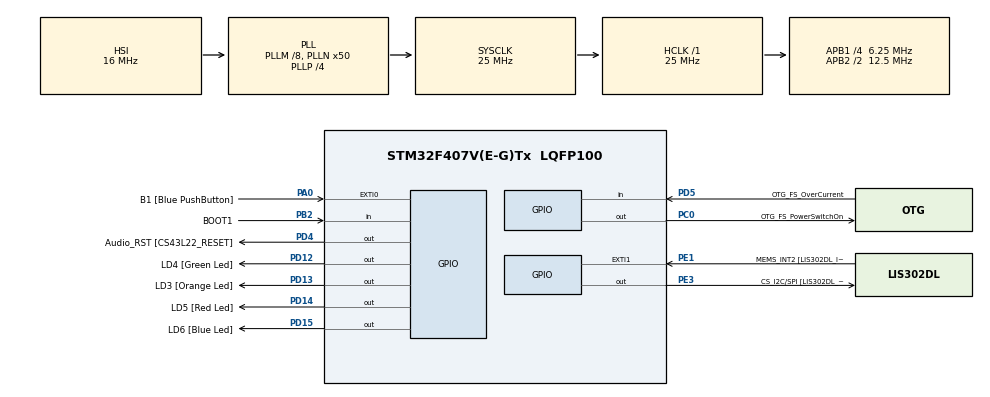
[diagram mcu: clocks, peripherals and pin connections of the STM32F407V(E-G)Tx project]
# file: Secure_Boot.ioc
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Mcu.Family=STM32F4
Mcu.Name=STM32F407V(E-G)Tx
Mcu.Package=LQFP100
NVIC.PriorityGroup=NVIC_PRIORITYGROUP_0
PA0-WKUP.GPIO_Label=B1 [Blue PushButton]
PA0-WKUP.Signal=GPXTI0
PA10.GPIO_Label=OTG_FS_ID
PA10.GPIO_Mode=GPIO_MODE_AF_PP
PA10.GPIO_PuPd=GPIO_NOPULL
PA10.GPIO_Speed=GPIO_SPEED_FREQ_LOW
PA10.Signal=USB_OTG_FS_ID
PA11.GPIO_Label=OTG_FS_DM
PA11.GPIO_Mode=GPIO_MODE_AF_PP
PA11.GPIO_PuPd=GPIO_NOPULL
PA11.GPIO_Speed=GPIO_SPEED_FREQ_LOW
PA11.Signal=USB_OTG_FS_DM
PA12.GPIO_Label=OTG_FS_DP
PA12.GPIO_Mode=GPIO_MODE_AF_PP
PA12.GPIO_PuPd=GPIO_NOPULL
PA12.GPIO_Speed=GPIO_SPEED_FREQ_LOW
PA12.Signal=USB_OTG_FS_DP
PA13.GPIO_Label=SWDIO
PA13.Signal=SYS_JTMS-SWDIO
PA14.GPIO_Label=SWCLK
PA14.Signal=SYS_JTCK-SWCLK
PA4.GPIO_Label=I2S3_WS [CS43L22_LRCK]
PA4.GPIO_Mode=GPIO_MODE_AF_PP
PA4.GPIO_PuPd=GPIO_NOPULL
PA4.GPIO_Speed=GPIO_SPEED_FREQ_LOW
PA4.Signal=I2S3_WS
PA5.GPIO_Label=SPI1_SCK [LIS302DL_SCL/SPC]
PA5.GPIO_Mode=GPIO_MODE_AF_PP
PA5.GPIO_PuPd=GPIO_NOPULL
PA5.GPIO_Speed=GPIO_SPEED_FREQ_LOW
PA5.Signal=SPI1_SCK
PA6.GPIO_Label=SPI1_MISO [LIS302DL_SDO]
PA6.GPIO_Mode=GPIO_MODE_AF_PP
PA6.GPIO_PuPd=GPIO_NOPULL
PA6.GPIO_Speed=GPIO_SPEED_FREQ_LOW
PA6.Signal=SPI1_MISO
PA7.GPIO_Label=SPI1_MOSI [LIS302DL_SDA/SDI/SDO]
PA7.GPIO_Mode=GPIO_MODE_AF_PP
PA7.GPIO_PuPd=GPIO_NOPULL
PA7.GPIO_Speed=GPIO_SPEED_FREQ_LOW
PA7.Signal=SPI1_MOSI
PA9.GPIO_Label=VBUS_FS
PA9.GPIO_Mode=GPIO_MODE_INPUT
PA9.GPIO_PuPd=GPIO_NOPULL
PA9.Signal=USB_OTG_FS_VBUS
PB10.GPIO_Label=CLK_IN [MP45DT02_CLK]
PB10.GPIO_Mode=GPIO_MODE_AF_PP
PB10.GPIO_PuPd=GPIO_NOPULL
PB10.GPIO_Speed=GPIO_SPEED_FREQ_LOW
PB10.Signal=I2S2_CK
PB2.GPIO_Label=BOOT1
PB2.GPIO_Mode=GPIO_MODE_INPUT
PB2.GPIO_PuPd=GPIO_NOPULL
PB2.Signal=GPIO_Input
PB3.GPIO_Label=SWO
PB3.Signal=SYS_JTDO-SWO
PB6.GPIO_Label=Audio_SCL [CS43L22_SCL]
PB6.GPIO_Mode=GPIO_MODE_AF_OD
PB6.GPIO_PuPd=GPIO_NOPULL
PB6.GPIO_Speed=GPIO_SPEED_FREQ_LOW
PB6.Signal=I2C1_SCL
PB9.GPIO_Label=Audio_SDA [CS43L22_SDA]
PB9.GPIO_Mode=GPIO_MODE_AF_OD
PB9.GPIO_PuPd=GPIO_NOPULL
PB9.GPIO_Speed=GPIO_SPEED_FREQ_LOW
PB9.Signal=I2C1_SDA
PC0.GPIO_Label=OTG_FS_PowerSwitchOn
PC0.GPIO_PuPd=GPIO_NOPULL
PC0.GPIO_Speed=GPIO_SPEED_FREQ_LOW
PC0.PinState=GPIO_PIN_SET
PC0.Signal=GPIO_Output
PC10.GPIO_Label=I2S3_SCK [CS43L22_SCLK]
PC10.GPIO_Mode=GPIO_MODE_AF_PP
PC10.GPIO_PuPd=GPIO_NOPULL
PC10.GPIO_Speed=GPIO_SPEED_FREQ_LOW
PC10.Signal=I2S3_CK
PC12.GPIO_Label=I2S3_SD [CS43L22_SDIN]
PC12.GPIO_Mode=GPIO_MODE_AF_PP
PC12.GPIO_PuPd=GPIO_NOPULL
PC12.GPIO_Speed=GPIO_SPEED_FREQ_LOW
PC12.Signal=I2S3_SD
PC14-OSC32_IN.GPIO_Label=PC14-OSC32_IN
PC14-OSC32_IN.Signal=RCC_OSC32_IN
PC15-OSC32_OUT.GPIO_Label=PC15-OSC32_OUT
PC15-OSC32_OUT.Signal=RCC_OSC32_OUT
PC3.GPIO_Label=PDM_OUT [MP45DT02_DOUT]
PC3.GPIO_Mode=GPIO_MODE_AF_PP
PC3.GPIO_PuPd=GPIO_NOPULL
PC3.GPIO_Speed=GPIO_SPEED_FREQ_LOW
PC3.Signal=I2S2_SD
PC7.GPIO_Label=I2S3_MCK [CS43L22_MCLK]
PC7.GPIO_Mode=GPIO_MODE_AF_PP
PC7.GPIO_PuPd=GPIO_NOPULL
PC7.GPIO_Speed=GPIO_SPEED_FREQ_LOW
PC7.Signal=I2S3_MCK
PD12.GPIO_Label=LD4 [Green Led]
PD12.GPIO_PuPd=GPIO_NOPULL
PD12.GPIO_Speed=GPIO_SPEED_FREQ_LOW
PD12.Signal=GPIO_Output
PD13.GPIO_Label=LD3 [Orange Led]
PD13.GPIO_PuPd=GPIO_NOPULL
PD13.GPIO_Speed=GPIO_SPEED_FREQ_LOW
PD13.Signal=GPIO_Output
PD14.GPIO_Label=LD5 [Red Led]
PD14.GPIO_PuPd=GPIO_NOPULL
PD14.GPIO_Speed=GPIO_SPEED_FREQ_LOW
PD14.Signal=GPIO_Output
PD15.GPIO_Label=LD6 [Blue Led]
PD15.GPIO_PuPd=GPIO_NOPULL
PD15.GPIO_Speed=GPIO_SPEED_FREQ_LOW
PD15.Signal=GPIO_Output
PD4.GPIO_Label=Audio_RST [CS43L22_RESET]
PD4.GPIO_PuPd=GPIO_NOPULL
PD4.GPIO_Speed=GPIO_SPEED_FREQ_LOW
PD4.Signal=GPIO_Output
PD5.GPIO_Label=OTG_FS_OverCurrent
PD5.GPIO_Mode=GPIO_MODE_INPUT
PD5.GPIO_PuPd=GPIO_NOPULL
PD5.Signal=GPIO_Input
PE1.GPIO_Label=MEMS_INT2 [LIS302DL_INT2]
PE1.GPIO_ModeDefaultEXTI=GPIO_MODE_EVT_RISING
PE1.GPIO_PuPd=GPIO_NOPULL
PE1.Signal=GPXTI1
PE3.GPIO_Label=CS_I2C/SPI [LIS302DL_CS_I2C/SPI]
PE3.GPIO_PuPd=GPIO_NOPULL
PE3.GPIO_Speed=GPIO_SPEED_FREQ_LOW
PE3.Signal=GPIO_Output
PH0-OSC_IN.GPIO_Label=PH0-OSC_IN
PH0-OSC_IN.Signal=RCC_OSC_IN
PH1-OSC_OUT.GPIO_Label=PH1-OSC_OUT
PH1-OSC_OUT.Signal=RCC_OSC_OUT
ProjectManager.HeapSize=0x200
ProjectManager.StackSize=0x400
ProjectManager.TargetToolchain=STM32CubeIDE
RCC.48MHZClocksFreq_Value=14285714.285714285
RCC.AHBFreq_Value=25000000
RCC.APB1CLKDivider=RCC_HCLK_DIV4
RCC.APB1Freq_Value=6250000
RCC.APB1TimFreq_Value=12500000
RCC.APB2CLKDivider=RCC_HCLK_DIV2
RCC.APB2Freq_Value=12500000
RCC.APB2TimFreq_Value=25000000
RCC.CortexFreq_Value=25000000
RCC.HCLKFreq_Value=25000000
RCC.HSE_VALUE=8000000
RCC.HSI_VALUE=16000000
RCC.LSE_VALUE=32768
RCC.PLLM=8
RCC.PLLN=50
RCC.PLLP=RCC_PLLP_DIV4
RCC.PLLQ=7
RCC.SYSCLKFreq_VALUE=25000000
RCC.SYSCLKSource=RCC_SYSCLKSOURCE_PLLCLK
RCC.VCOOutputFreq_Value=100000000
VP_CRC_VS_CRC.Mode=CRC_Activate
board=STM32F407G-DISC1

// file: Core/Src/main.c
/* USER CODE BEGIN Header */
/**
  ******************************************************************************
  * @file           : main.c
  * @brief          : Main program body
  ******************************************************************************
  * @attention
  *
  * Copyright (c) 2026 STMicroelectronics.
  * All rights reserved.
  *
  * This software is licensed under terms that can be found in the LICENSE file
  * in the root directory of this software component.
  * If no LICENSE file comes with this software, it is provided AS-IS.
  *
  ******************************************************************************
  */
/* USER CODE END Header */
#include "main.h"

/* USER CODE BEGIN Includes */
#include <stdio.h>
#include <string.h>
#include <stdbool.h>
#include "sha256.h"
#include "metadata.h"
#include "flash_storage.h"
#include "image_validation.h"
/* USER CODE END Includes */

CRC_HandleTypeDef hcrc;

void SystemClock_Config(void);
static void MX_GPIO_Init(void);
static void MX_CRC_Init(void);
/* USER CODE BEGIN PFP */
static void JumpToApplication(uint32_t image_start, uint32_t image_end);

static firmware_slot_t GetOtherSlot(firmware_slot_t slot);

static uint32_t GetSlotImageStart(firmware_slot_t slot);

static uint32_t GetSlotImageRegionEnd(firmware_slot_t slot);

static HAL_StatusTypeDef FindConfirmedSlot(
    const firmware_metadata_record_t *slot_a_record,
    const firmware_metadata_record_t *slot_b_record,
    bool slot_a_record_valid,
    bool slot_b_record_valid,
    firmware_slot_t *confirmed_slot);

static HAL_StatusTypeDef UpdateSlotState(
    firmware_slot_t slot,
    firmware_metadata_record_t *record,
    firmware_update_state_t new_state);

static HAL_StatusTypeDef ProcessPendingValidation(
    firmware_slot_t pending_slot,
    firmware_metadata_record_t *pending_record,
    const firmware_metadata_record_t *confirmed_record);

static HAL_StatusTypeDef PromoteValidatedFirmware(
    firmware_slot_t slot,
    firmware_metadata_record_t *record);

static void Bootloader_FailSafe(void);

/* USER CODE END PFP */

/* USER CODE BEGIN 0 */
int __io_putchar(int ch)
{
    ITM_SendChar((uint32_t)ch);
    return ch;
}
/* USER CODE END 0 */

int main(void)
{

	/* USER CODE BEGIN 1 */

	firmware_metadata_record_t slot_a_record;
	firmware_metadata_record_t slot_b_record;

	bool slot_a_record_valid = false;
	bool slot_b_record_valid = false;

	bool slot_a_pending = false;
	bool slot_b_pending = false;

	bool slot_a_validated = false;
	bool slot_b_validated = false;

	HAL_StatusTypeDef status;

	firmware_slot_t active_slot;
	firmware_slot_t inactive_slot;

	const firmware_metadata_t *active_metadata;

	uint8_t active_digest[SHA256_DIGEST_SIZE];

	uint32_t active_image_start;
	uint32_t active_image_end;

	/* USER CODE END 1 */

  /* MCU Configuration--------------------------------------------------------*/

  /* Reset of all peripherals, Initializes the Flash interface and the Systick. */
  HAL_Init();

  /* Configure the system clock */
  SystemClock_Config();

  /* Initialize all configured peripherals */
  MX_GPIO_Init();
  MX_CRC_Init();
  /* USER CODE BEGIN 2 */

  /* Read latest committed Slot A metadata record */
  slot_a_record_valid =
      Metadata_ReadLatestRecord(
          SLOT_A_METADATA_ADDRESS,
          SLOT_A_METADATA_REGION_END,
          &slot_a_record);

  if (!slot_a_record_valid)
  {
      printf("[BOOT] No valid Slot A metadata record\r\n");
  }

  /* Read latest committed Slot B metadata record */
  slot_b_record_valid =
      Metadata_ReadLatestRecord(
          SLOT_B_METADATA_ADDRESS,
          SLOT_B_METADATA_REGION_END,
          &slot_b_record);

  if (!slot_b_record_valid)
  {
      printf("[BOOT] No valid Slot B metadata record\r\n");
  }

  /*
   * Detect an unfinished trial boot.
   *
   * If a slot is BOOT_PENDING after reset, the previous
   * trial did not confirm, so boot the ROLLBACK slot.
   */
  slot_a_pending =
      slot_a_record_valid &&
      (slot_a_record.metadata.update_state ==
       FIRMWARE_STATE_BOOT_PENDING);

  slot_b_pending =
      slot_b_record_valid &&
      (slot_b_record.metadata.update_state ==
       FIRMWARE_STATE_BOOT_PENDING);

  if (slot_a_pending && slot_b_pending)
  {
      printf("[BOOT] Invalid state: both slots are BOOT_PENDING\r\n");
      Bootloader_FailSafe();
  }

  if (slot_a_pending || slot_b_pending)
  {
      firmware_slot_t pending_slot;
      firmware_slot_t rollback_slot;

      firmware_metadata_record_t *pending_record;
      firmware_metadata_record_t *rollback_record;

      /*
       * Identify the failed trial slot and the rollback slot.
       */
      if (slot_a_pending)
      {
          pending_slot = FIRMWARE_SLOT_A;
          pending_record = &slot_a_record;

          if (slot_b_record_valid &&
              (slot_b_record.metadata.update_state ==
               FIRMWARE_STATE_ROLLBACK))
          {
              rollback_slot = FIRMWARE_SLOT_B;
              rollback_record = &slot_b_record;
          }
          else
          {
              printf("[BOOT] No valid Slot B ROLLBACK image\r\n");
              Bootloader_FailSafe();
          }
      }
      else
      {
          pending_slot = FIRMWARE_SLOT_B;
          pending_record = &slot_b_record;

          if (slot_a_record_valid &&
              (slot_a_record.metadata.update_state ==
               FIRMWARE_STATE_ROLLBACK))
          {
              rollback_slot = FIRMWARE_SLOT_A;
              rollback_record = &slot_a_record;
          }
          else
          {
              printf("[BOOT] No valid Slot A ROLLBACK image\r\n");
              Bootloader_FailSafe();
          }
      }

      printf(
          "[BOOT] BOOT_PENDING detected in Slot %s\r\n",
          (pending_slot == FIRMWARE_SLOT_A) ? "A" : "B");

      printf(
          "[BOOT] Rolling back to Slot %s\r\n",
          (rollback_slot == FIRMWARE_SLOT_A) ? "A" : "B");

      /*
       * The trial firmware did not confirm successfully.
       * Mark it INVALID so it is not retried.
       */
      status = UpdateSlotState(
          pending_slot,
          pending_record,
          FIRMWARE_STATE_INVALID);

      if (status != HAL_OK)
      {
          printf("[BOOT] Failed to mark trial slot as INVALID\r\n");
          Bootloader_FailSafe();
      }

      /*
       * Restore the rollback image as the confirmed firmware.
       */
      status = UpdateSlotState(
          rollback_slot,
          rollback_record,
          FIRMWARE_STATE_CONFIRMED);

      if (status != HAL_OK)
      {
          printf("[BOOT] Failed to restore ROLLBACK slot as CONFIRMED\r\n");
          Bootloader_FailSafe();
      }

      /*
       * The rollback slot is now the firmware to boot.
       */
      active_slot = rollback_slot;

      printf(
          "[BOOT] Rollback complete: Slot %s is now CONFIRMED\r\n",
          (active_slot == FIRMWARE_SLOT_A) ? "A" : "B");
  }
  else
  {
      /*
       * No unfinished trial boot.
       * Determine the currently confirmed firmware slot.
       */
      status = FindConfirmedSlot(
          &slot_a_record,
          &slot_b_record,
          slot_a_record_valid,
          slot_b_record_valid,
          &active_slot);

      if (status != HAL_OK)
      {
          printf("[BOOT] No valid confirmed firmware slot\r\n");
          Bootloader_FailSafe();
      }
  }

  /*
   * The other slot is currently inactive.
   */
  inactive_slot = GetOtherSlot(active_slot);

  printf(
      "\r\n[BOOT] Active Slot: %s\r\n",
      (active_slot == FIRMWARE_SLOT_A) ? "A" : "B");

  printf(
      "[BOOT] Inactive Slot: %s\r\n",
      (inactive_slot == FIRMWARE_SLOT_A) ? "A" : "B");

  /*
   * Detect a pending firmware update.
   *
   * At most one slot may be PENDING_VALIDATION.
   */
  slot_a_pending =
      slot_a_record_valid &&
      (slot_a_record.metadata.update_state ==
       FIRMWARE_STATE_PENDING_VALIDATION);

  slot_b_pending =
      slot_b_record_valid &&
      (slot_b_record.metadata.update_state ==
       FIRMWARE_STATE_PENDING_VALIDATION);

  if (slot_a_pending && slot_b_pending)
  {
      printf("[BOOT] Invalid state: both slots are pending validation\r\n");
      Bootloader_FailSafe();
  }

  if (slot_a_pending || slot_b_pending)
  {
      firmware_slot_t pending_slot;

      firmware_metadata_record_t *pending_record;

      const firmware_metadata_record_t *confirmed_record;

      if (slot_a_pending)
      {
          pending_slot = FIRMWARE_SLOT_A;
          pending_record = &slot_a_record;
      }
      else
      {
          pending_slot = FIRMWARE_SLOT_B;
          pending_record = &slot_b_record;
      }

      confirmed_record =
          (active_slot == FIRMWARE_SLOT_A) ?
          &slot_a_record :
          &slot_b_record;

      status = ProcessPendingValidation(
          pending_slot,
          pending_record,
          confirmed_record);

      if (status != HAL_OK)
      {
          printf("[BOOT] Pending firmware validation processing failed\r\n");
          Bootloader_FailSafe();
      }
  }

  /*
   * ---------------------------------------------------------
   * Process VALIDATED firmware here
   * ---------------------------------------------------------
   */

  slot_a_validated =
      slot_a_record_valid &&
      (slot_a_record.metadata.update_state ==
       FIRMWARE_STATE_VALIDATED);

  slot_b_validated =
      slot_b_record_valid &&
      (slot_b_record.metadata.update_state ==
       FIRMWARE_STATE_VALIDATED);

  if (slot_a_validated && slot_b_validated)
  {
      printf("[BOOT] Invalid state: both slots are VALIDATED\r\n");
      Bootloader_FailSafe();
  }

  if (slot_a_validated || slot_b_validated)
  {
      firmware_slot_t validated_slot;
      firmware_metadata_record_t *validated_record;

      if (slot_a_validated)
      {
          validated_slot = FIRMWARE_SLOT_A;
          validated_record = &slot_a_record;
      }
      else
      {
          validated_slot = FIRMWARE_SLOT_B;
          validated_record = &slot_b_record;
      }

      /*
       * A validated firmware must always be the inactive slot.
       */
      if (validated_slot == active_slot)
      {
          printf("[BOOT] Invalid state: active slot is VALIDATED\r\n");
          Bootloader_FailSafe();
      }

      printf(
          "[BOOT] Validated firmware found in Slot %s\r\n",
          (validated_slot == FIRMWARE_SLOT_A) ? "A" : "B");

      status = PromoteValidatedFirmware(
          validated_slot,
          validated_record);

      if (status == HAL_OK)
      {
    	  status = UpdateSlotState(
    	      active_slot,
    	      (active_slot == FIRMWARE_SLOT_A) ?
    	          &slot_a_record :
    	          &slot_b_record,
    	      FIRMWARE_STATE_ROLLBACK);

    	  if (status != HAL_OK)
    	  {
    	      printf("[BOOT] Failed to set rollback state\r\n");
    	      Bootloader_FailSafe();
    	  }

          uint32_t trial_image_start;
          uint32_t trial_image_end;

          trial_image_start =
              GetSlotImageStart(validated_slot);

          trial_image_end =
              trial_image_start +
              validated_record->metadata.image_size;

          printf(
              "[BOOT] Starting trial boot from Slot %s\r\n",
              (validated_slot == FIRMWARE_SLOT_A) ? "A" : "B");

          JumpToApplication(
              trial_image_start,
              trial_image_end);
      }

      printf("[BOOT] Firmware promotion failed\r\n");
  }

  /*
   * ---------------------------------------------------------
   * Normal boot of confirmed firmware
   * ---------------------------------------------------------
   */

  active_metadata =
      (active_slot == FIRMWARE_SLOT_A) ?
      &slot_a_record.metadata :
      &slot_b_record.metadata;

  /*
   * Validate only the confirmed slot metadata
   * against its fixed memory region.
   */
  if (!Metadata_Validate(
          active_metadata,
          GetSlotImageStart(active_slot),
          GetSlotImageRegionEnd(active_slot)))
  {
      printf("[BOOT] Invalid confirmed slot metadata\r\n");
      Bootloader_FailSafe();
  }

  /*
   * Get confirmed firmware image address.
   */
  active_image_start =
      GetSlotImageStart(active_slot);

  active_image_end =
      active_image_start +
      active_metadata->image_size;

  printf(
      "[BOOT] Active image start: 0x%08lX\r\n",
      (unsigned long)active_image_start);

  printf(
      "[BOOT] Active image size: 0x%08lX\r\n",
      (unsigned long)active_metadata->image_size);

  /*
   * Independently verify the confirmed firmware image.
   */
  printf(
      "[BOOT] Calculating SHA-256 of active Slot %s\r\n",
      (active_slot == FIRMWARE_SLOT_A) ? "A" : "B");

  ImageValidation_CalculateSHA256(
      active_image_start,
      active_metadata->image_size,
      active_digest);

  if (ImageValidation_VerifySHA256(
          active_digest,
          active_metadata->sha256))
  {
      printf("\r\n[BOOT] Active firmware SHA-256 matched\r\n");

      JumpToApplication(
          active_image_start,
          active_image_end);
  }

  printf("[BOOT] Active firmware SHA-256 mismatch\r\n");

  Bootloader_FailSafe();
  /* USER CODE END 2 */

  /* Infinite loop */
  while (1)
  {

  }
}

void SystemClock_Config(void)
{
  RCC_OscInitTypeDef RCC_OscInitStruct = {0};
  RCC_ClkInitTypeDef RCC_ClkInitStruct = {0};

  /** Configure the main internal regulator output voltage
  */
  __HAL_RCC_PWR_CLK_ENABLE();
  __HAL_PWR_VOLTAGESCALING_CONFIG(PWR_REGULATOR_VOLTAGE_SCALE1);

  /** Initializes the RCC Oscillators according to the specified parameters
  * in the RCC_OscInitTypeDef structure.
  */
  RCC_OscInitStruct.OscillatorType = RCC_OSCILLATORTYPE_HSI;
  RCC_OscInitStruct.HSIState = RCC_HSI_ON;
  RCC_OscInitStruct.HSICalibrationValue = RCC_HSICALIBRATION_DEFAULT;
  RCC_OscInitStruct.PLL.PLLState = RCC_PLL_ON;
  RCC_OscInitStruct.PLL.PLLSource = RCC_PLLSOURCE_HSI;
  RCC_OscInitStruct.PLL.PLLM = 8;
  RCC_OscInitStruct.PLL.PLLN = 50;
  RCC_OscInitStruct.PLL.PLLP = RCC_PLLP_DIV4;
  RCC_OscInitStruct.PLL.PLLQ = 7;
  if (HAL_RCC_OscConfig(&RCC_OscInitStruct) != HAL_OK)
  {
    Error_Handler();
  }

  /** Initializes the CPU, AHB and APB buses clocks
  */
  RCC_ClkInitStruct.ClockType = RCC_CLOCKTYPE_HCLK|RCC_CLOCKTYPE_SYSCLK
                              |RCC_CLOCKTYPE_PCLK1|RCC_CLOCKTYPE_PCLK2;
  RCC_ClkInitStruct.SYSCLKSource = RCC_SYSCLKSOURCE_PLLCLK;
  RCC_ClkInitStruct.AHBCLKDivider = RCC_SYSCLK_DIV1;
  RCC_ClkInitStruct.APB1CLKDivider = RCC_HCLK_DIV4;
  RCC_ClkInitStruct.APB2CLKDivider = RCC_HCLK_DIV2;

  if (HAL_RCC_ClockConfig(&RCC_ClkInitStruct, FLASH_LATENCY_0) != HAL_OK)
  {
    Error_Handler();
  }
}

static void MX_CRC_Init(void)
{

  hcrc.Instance = CRC;
  if (HAL_CRC_Init(&hcrc) != HAL_OK)
  {
    Error_Handler();
  }

}

static void MX_GPIO_Init(void)
{
  GPIO_InitTypeDef GPIO_InitStruct = {0};

  /* GPIO Ports Clock Enable */
  __HAL_RCC_GPIOE_CLK_ENABLE();
  __HAL_RCC_GPIOC_CLK_ENABLE();
  __HAL_RCC_GPIOH_CLK_ENABLE();
  __HAL_RCC_GPIOA_CLK_ENABLE();
  __HAL_RCC_GPIOB_CLK_ENABLE();
  __HAL_RCC_GPIOD_CLK_ENABLE();

  /*Configure GPIO pin Output Level */
  HAL_GPIO_WritePin(CS_I2C_SPI_GPIO_Port, CS_I2C_SPI_Pin, GPIO_PIN_RESET);

  /*Configure GPIO pin Output Level */
  HAL_GPIO_WritePin(OTG_FS_PowerSwitchOn_GPIO_Port, OTG_FS_PowerSwitchOn_Pin, GPIO_PIN_SET);

  /*Configure GPIO pin Output Level */
  HAL_GPIO_WritePin(GPIOD, LD4_Pin|LD3_Pin|LD5_Pin|LD6_Pin
                          |Audio_RST_Pin, GPIO_PIN_RESET);

  /*Configure GPIO pin : CS_I2C_SPI_Pin */
  GPIO_InitStruct.Pin = CS_I2C_SPI_Pin;
  GPIO_InitStruct.Mode = GPIO_MODE_OUTPUT_PP;
  GPIO_InitStruct.Pull = GPIO_NOPULL;
  GPIO_InitStruct.Speed = GPIO_SPEED_FREQ_LOW;
  HAL_GPIO_Init(CS_I2C_SPI_GPIO_Port, &GPIO_InitStruct);

  /*Configure GPIO pin : OTG_FS_PowerSwitchOn_Pin */
  GPIO_InitStruct.Pin = OTG_FS_PowerSwitchOn_Pin;
  GPIO_InitStruct.Mode = GPIO_MODE_OUTPUT_PP;
  GPIO_InitStruct.Pull = GPIO_NOPULL;
  GPIO_InitStruct.Speed = GPIO_SPEED_FREQ_LOW;
  HAL_GPIO_Init(OTG_FS_PowerSwitchOn_GPIO_Port, &GPIO_InitStruct);

  /*Configure GPIO pin : PDM_OUT_Pin */
  GPIO_InitStruct.Pin = PDM_OUT_Pin;
  GPIO_InitStruct.Mode = GPIO_MODE_AF_PP;
  GPIO_InitStruct.Pull = GPIO_NOPULL;
  GPIO_InitStruct.Speed = GPIO_SPEED_FREQ_LOW;
  GPIO_InitStruct.Alternate = GPIO_AF5_SPI2;
  HAL_GPIO_Init(PDM_OUT_GPIO_Port, &GPIO_InitStruct);

  /*Configure GPIO pin : B1_Pin */
  GPIO_InitStruct.Pin = B1_Pin;
  GPIO_InitStruct.Mode = GPIO_MODE_IT_RISING;
  GPIO_InitStruct.Pull = GPIO_NOPULL;
  HAL_GPIO_Init(B1_GPIO_Port, &GPIO_InitStruct);

  /*Configure GPIO pin : I2S3_WS_Pin */
  GPIO_InitStruct.Pin = I2S3_WS_Pin;
  GPIO_InitStruct.Mode = GPIO_MODE_AF_PP;
  GPIO_InitStruct.Pull = GPIO_NOPULL;
  GPIO_InitStruct.Speed = GPIO_SPEED_FREQ_LOW;
  GPIO_InitStruct.Alternate = GPIO_AF6_SPI3;
  HAL_GPIO_Init(I2S3_WS_GPIO_Port, &GPIO_InitStruct);

  /*Configure GPIO pins : SPI1_SCK_Pin SPI1_MISO_Pin SPI1_MOSI_Pin */
  GPIO_InitStruct.Pin = SPI1_SCK_Pin|SPI1_MISO_Pin|SPI1_MOSI_Pin;
  GPIO_InitStruct.Mode = GPIO_MODE_AF_PP;
  GPIO_InitStruct.Pull = GPIO_NOPULL;
  GPIO_InitStruct.Speed = GPIO_SPEED_FREQ_LOW;
  GPIO_InitStruct.Alternate = GPIO_AF5_SPI1;
  HAL_GPIO_Init(GPIOA, &GPIO_InitStruct);

  /*Configure GPIO pin : BOOT1_Pin */
  GPIO_InitStruct.Pin = BOOT1_Pin;
  GPIO_InitStruct.Mode = GPIO_MODE_INPUT;
  GPIO_InitStruct.Pull = GPIO_NOPULL;
  HAL_GPIO_Init(BOOT1_GPIO_Port, &GPIO_InitStruct);

  /*Configure GPIO pin : CLK_IN_Pin */
  GPIO_InitStruct.Pin = CLK_IN_Pin;
  GPIO_InitStruct.Mode = GPIO_MODE_AF_PP;
  GPIO_InitStruct.Pull = GPIO_NOPULL;
  GPIO_InitStruct.Speed = GPIO_SPEED_FREQ_LOW;
  GPIO_InitStruct.Alternate = GPIO_AF5_SPI2;
  HAL_GPIO_Init(CLK_IN_GPIO_Port, &GPIO_InitStruct);

  /*Configure GPIO pins : LD4_Pin LD3_Pin LD5_Pin LD6_Pin
                           Audio_RST_Pin */
  GPIO_InitStruct.Pin = LD4_Pin|LD3_Pin|LD5_Pin|LD6_Pin
                          |Audio_RST_Pin;
  GPIO_InitStruct.Mode = GPIO_MODE_OUTPUT_PP;
  GPIO_InitStruct.Pull = GPIO_NOPULL;
  GPIO_InitStruct.Speed = GPIO_SPEED_FREQ_LOW;
  HAL_GPIO_Init(GPIOD, &GPIO_InitStruct);

  /*Configure GPIO pins : I2S3_MCK_Pin I2S3_SCK_Pin I2S3_SD_Pin */
  GPIO_InitStruct.Pin = I2S3_MCK_Pin|I2S3_SCK_Pin|I2S3_SD_Pin;
  GPIO_InitStruct.Mode = GPIO_MODE_AF_PP;
  GPIO_InitStruct.Pull = GPIO_NOPULL;
  GPIO_InitStruct.Speed = GPIO_SPEED_FREQ_LOW;
  GPIO_InitStruct.Alternate = GPIO_AF6_SPI3;
  HAL_GPIO_Init(GPIOC, &GPIO_InitStruct);

  /*Configure GPIO pin : VBUS_FS_Pin */
  GPIO_InitStruct.Pin = VBUS_FS_Pin;
  GPIO_InitStruct.Mode = GPIO_MODE_INPUT;
  GPIO_InitStruct.Pull = GPIO_NOPULL;
  HAL_GPIO_Init(VBUS_FS_GPIO_Port, &GPIO_InitStruct);

  /*Configure GPIO pins : OTG_FS_ID_Pin OTG_FS_DM_Pin OTG_FS_DP_Pin */
  GPIO_InitStruct.Pin = OTG_FS_ID_Pin|OTG_FS_DM_Pin|OTG_FS_DP_Pin;
  GPIO_InitStruct.Mode = GPIO_MODE_AF_PP;
  GPIO_InitStruct.Pull = GPIO_NOPULL;
  GPIO_InitStruct.Speed = GPIO_SPEED_FREQ_LOW;
  GPIO_InitStruct.Alternate = GPIO_AF10_OTG_FS;
  HAL_GPIO_Init(GPIOA, &GPIO_InitStruct);

  /*Configure GPIO pin : OTG_FS_OverCurrent_Pin */
  GPIO_InitStruct.Pin = OTG_FS_OverCurrent_Pin;
  GPIO_InitStruct.Mode = GPIO_MODE_INPUT;
  GPIO_InitStruct.Pull = GPIO_NOPULL;
  HAL_GPIO_Init(OTG_FS_OverCurrent_GPIO_Port, &GPIO_InitStruct);

  /*Configure GPIO pins : Audio_SCL_Pin Audio_SDA_Pin */
  GPIO_InitStruct.Pin = Audio_SCL_Pin|Audio_SDA_Pin;
  GPIO_InitStruct.Mode = GPIO_MODE_AF_OD;
  GPIO_InitStruct.Pull = GPIO_NOPULL;
  GPIO_InitStruct.Speed = GPIO_SPEED_FREQ_LOW;
  GPIO_InitStruct.Alternate = GPIO_AF4_I2C1;
  HAL_GPIO_Init(GPIOB, &GPIO_InitStruct);

  /*Configure GPIO pin : MEMS_INT2_Pin */
  GPIO_InitStruct.Pin = MEMS_INT2_Pin;
  GPIO_InitStruct.Mode = GPIO_MODE_EVT_RISING;
  GPIO_InitStruct.Pull = GPIO_NOPULL;
  HAL_GPIO_Init(MEMS_INT2_GPIO_Port, &GPIO_InitStruct);

}

/* USER CODE BEGIN 4 */
static void JumpToApplication(uint32_t image_start,
                              uint32_t image_end)
{
    uint32_t app_sp;
    uint32_t app_reset_handler = 0x00U;

    /* Read initial stack pointer from image vector table */
    app_sp = *(volatile uint32_t *)image_start;

    /* Read Reset_Handler address from image vector table */
    app_reset_handler =
        *(volatile uint32_t *)(image_start + 4U);

    /* Validate Application Stack Pointer */
    if ((app_sp < SRAM_START_ADDRESS) ||
        (app_sp > SRAM_END_ADDRESS))
    {
        printf("[BOOT] Invalid Application Stack Pointer\r\n");
        return;
    }

    /* Validate Reset_Handler address */
    if ((app_reset_handler < image_start) ||
        (app_reset_handler >= image_end))
    {
        printf("[BOOT] Invalid Application Reset Handler\r\n");
        return;
    }

    /* Reset_Handler must be Thumb code */
    if ((app_reset_handler & 1U) == 0U)
    {
        printf("[BOOT] Invalid Reset Handler: Thumb bit not set\r\n");
        return;
    }

    /* Point Cortex-M to the selected application's vector table */
    SCB->VTOR = image_start;

    /* Load application stack pointer */
    __set_MSP(app_sp);

    /* Jump to application Reset_Handler */
    void (*reset_handler)(void) =
        (void (*)(void))app_reset_handler;

    reset_handler();
}

static firmware_slot_t GetOtherSlot(firmware_slot_t slot)
{
    return (slot == FIRMWARE_SLOT_A) ?
           FIRMWARE_SLOT_B :
           FIRMWARE_SLOT_A;
}

static uint32_t GetSlotImageStart(firmware_slot_t slot)
{
    return (slot == FIRMWARE_SLOT_A) ?
           SLOT_A_IMAGE_START :
           SLOT_B_IMAGE_START;
}

static uint32_t GetSlotImageRegionEnd(firmware_slot_t slot)
{
    return (slot == FIRMWARE_SLOT_A) ?
           SLOT_A_IMAGE_REGION_END :
           SLOT_B_IMAGE_REGION_END;
}

static HAL_StatusTypeDef FindConfirmedSlot(
    const firmware_metadata_record_t *slot_a_record,
    const firmware_metadata_record_t *slot_b_record,
    bool slot_a_record_valid,
    bool slot_b_record_valid,
    firmware_slot_t *confirmed_slot)
{
    bool slot_a_confirmed = false;
    bool slot_b_confirmed = false;

    if (confirmed_slot == NULL)
    {
        return HAL_ERROR;
    }

    if (slot_a_record_valid &&
        (slot_a_record->metadata.update_state ==
         FIRMWARE_STATE_CONFIRMED))
    {
        slot_a_confirmed = true;
    }

    if (slot_b_record_valid &&
        (slot_b_record->metadata.update_state ==
         FIRMWARE_STATE_CONFIRMED))
    {
        slot_b_confirmed = true;
    }

    /*
     * Both slots cannot be CONFIRMED simultaneously.
     */
    if (slot_a_confirmed && slot_b_confirmed)
    {
        return HAL_ERROR;
    }

    if (slot_a_confirmed)
    {
        *confirmed_slot = FIRMWARE_SLOT_A;
        return HAL_OK;
    }

    if (slot_b_confirmed)
    {
        *confirmed_slot = FIRMWARE_SLOT_B;
        return HAL_OK;
    }

    /*
     * No confirmed slot is available.
     */
    return HAL_ERROR;
}

static HAL_StatusTypeDef UpdateSlotState(
    firmware_slot_t slot,
    firmware_metadata_record_t *record,
    firmware_update_state_t new_state)
{
    firmware_metadata_t new_metadata;
    HAL_StatusTypeDef status;

    if (record == NULL)
    {
        return HAL_ERROR;
    }

    new_metadata = record->metadata;
    new_metadata.update_state = new_state;

    if (slot == FIRMWARE_SLOT_A)
    {
        status = Metadata_WriteRecord(
            SLOT_A_METADATA_ADDRESS,
            SLOT_A_METADATA_REGION_END,
            FLASH_SECTOR_2,
            FLASH_VOLTAGE_RANGE_3,
            &new_metadata);
    }
    else
    {
        status = Metadata_WriteRecord(
            SLOT_B_METADATA_ADDRESS,
            SLOT_B_METADATA_REGION_END,
            FLASH_SECTOR_3,
            FLASH_VOLTAGE_RANGE_3,
            &new_metadata);
    }

    if (status != HAL_OK)
    {
        return status;
    }

    /*
     * Refresh the local record so it represents the newly
     * committed metadata record.
     */
    if (slot == FIRMWARE_SLOT_A)
    {
        if (!Metadata_ReadLatestRecord(
                SLOT_A_METADATA_ADDRESS,
                SLOT_A_METADATA_REGION_END,
                record))
        {
            return HAL_ERROR;
        }
    }
    else
    {
        if (!Metadata_ReadLatestRecord(
                SLOT_B_METADATA_ADDRESS,
                SLOT_B_METADATA_REGION_END,
                record))
        {
            return HAL_ERROR;
        }
    }

    return HAL_OK;
}

static HAL_StatusTypeDef ProcessPendingValidation(
    firmware_slot_t pending_slot,
    firmware_metadata_record_t *pending_record,
    const firmware_metadata_record_t *confirmed_record)
{
    uint8_t staged_digest[SHA256_DIGEST_SIZE];

    if ((pending_record == NULL) ||
        (confirmed_record == NULL))
    {
        return HAL_ERROR;
    }

    printf(
        "[BOOT] Processing pending firmware in Slot %s\r\n",
        (pending_slot == FIRMWARE_SLOT_A) ? "A" : "B");

    /*
     * The staged image must fit inside the download/staging area.
     */
    if (!Metadata_Validate(
            &pending_record->metadata,
            DOWNLOAD_START_ADDRESS,
            DOWNLOAD_REGION_END))
    {
        printf("[BOOT] Invalid staged firmware metadata\r\n");

        return UpdateSlotState(
            pending_slot,
            pending_record,
            FIRMWARE_STATE_INVALID);
    }

    /*
     * Reject firmware that is not newer than the currently
     * confirmed firmware.
     */
    if (pending_record->metadata.version <=
        confirmed_record->metadata.version)
    {
        printf("[BOOT] Staged firmware is not newer\r\n");

        return UpdateSlotState(
            pending_slot,
            pending_record,
            FIRMWARE_STATE_INVALID);
    }

    printf(
        "[BOOT] Staged firmware version: %lu\r\n",
        (unsigned long)pending_record->metadata.version);

    printf("[BOOT] Calculating staged firmware SHA-256\r\n");

    ImageValidation_CalculateSHA256(
        DOWNLOAD_START_ADDRESS,
        pending_record->metadata.image_size,
        staged_digest);

    if (!ImageValidation_VerifySHA256(
            staged_digest,
            pending_record->metadata.sha256))
    {
        printf("[BOOT] Staged firmware SHA-256 mismatch\r\n");

        return UpdateSlotState(
            pending_slot,
            pending_record,
            FIRMWARE_STATE_INVALID);
    }

    printf("[BOOT] Staged firmware SHA-256 matched\r\n");

    /*
     * The firmware is valid and can now be promoted
     * into the inactive slot.
     *
     * Promotion itself is handled by the next task.
     */
    return UpdateSlotState(
        pending_slot,
        pending_record,
        FIRMWARE_STATE_VALIDATED);
}

static HAL_StatusTypeDef PromoteValidatedFirmware(
    firmware_slot_t slot,
    firmware_metadata_record_t *record)
{
    uint32_t destination_start;
    uint32_t destination_region_end;

    uint32_t flash_sector;

    uint8_t destination_digest[SHA256_DIGEST_SIZE];

    HAL_StatusTypeDef status;

    if (record == NULL)
    {
        return HAL_ERROR;
    }

    if (record->metadata.update_state !=
        FIRMWARE_STATE_VALIDATED)
    {
        return HAL_ERROR;
    }

    /*
     * The validated image is still stored in the
     * download/staging region.
     */
    if (!Metadata_Validate(
            &record->metadata,
            DOWNLOAD_START_ADDRESS,
            DOWNLOAD_REGION_END))
    {
        printf("[BOOT] Invalid staged firmware metadata\r\n");
        return HAL_ERROR;
    }

    destination_start =
        GetSlotImageStart(slot);

    destination_region_end =
        GetSlotImageRegionEnd(slot);

    /*
     * The same image must fit into the destination slot.
     */
    if (!Metadata_Validate(
            &record->metadata,
            destination_start,
            destination_region_end))
    {
        printf("[BOOT] Firmware does not fit destination slot\r\n");
        return HAL_ERROR;
    }

    flash_sector =
        (slot == FIRMWARE_SLOT_A) ?
        FLASH_SECTOR_5 :
        FLASH_SECTOR_6;

    printf(
        "[BOOT] Promoting staged firmware to Slot %s\r\n",
        (slot == FIRMWARE_SLOT_A) ? "A" : "B");

    /*
     * Erase the inactive firmware slot.
     */
    printf("[BOOT] Erasing destination slot\r\n");

    status = FlashStorage_EraseSector(
        flash_sector,
        FLASH_VOLTAGE_RANGE_3);

    if (status != HAL_OK)
    {
        printf("[BOOT] Failed to erase destination slot\r\n");
        return status;
    }

    /*
     * Copy firmware from staging area into the
     * selected inactive slot.
     */
    printf("[BOOT] Programming destination slot\r\n");

    status = FlashStorage_ProgramImage(
        destination_start,
        DOWNLOAD_START_ADDRESS,
        record->metadata.image_size);

    if (status != HAL_OK)
    {
        printf("[BOOT] Failed to program destination slot\r\n");

        /*
         * Keep VALIDATED state.
         * The staging image is still available and
         * promotion can be retried after reset.
         */
        return status;
    }

    /*
     * Independently calculate SHA-256 of the image
     * after programming.
     */
    printf("[BOOT] Verifying programmed destination SHA-256\r\n");

    ImageValidation_CalculateSHA256(
        destination_start,
        record->metadata.image_size,
        destination_digest);

    if (!ImageValidation_VerifySHA256(
            destination_digest,
            record->metadata.sha256))
    {
        printf("[BOOT] Destination SHA-256 mismatch\r\n");

        /*
         * Keep VALIDATED state.
         * The failed destination can be erased and
         * programmed again on the next attempt.
         */
        return HAL_ERROR;
    }

    printf("[BOOT] Destination SHA-256 matched\r\n");

    /*
     * Destination image is now programmed and verified.
     * It is ready for trial boot.
     */
    status = UpdateSlotState(
        slot,
        record,
        FIRMWARE_STATE_BOOT_PENDING);

    if (status != HAL_OK)
    {
        printf("[BOOT] Failed to set BOOT_PENDING state\r\n");
        return status;
    }

    printf("[BOOT] Slot %s is now BOOT_PENDING\r\n",
           (slot == FIRMWARE_SLOT_A) ? "A" : "B");

    return HAL_OK;
}

/**
 * @brief  Keep the bootloader in a safe state when no valid
 *         firmware image is available.
 * @retval None
 */
static void Bootloader_FailSafe(void)
{
    printf("[BOOT] Bootloader: no valid firmware image\r\n");
    printf("[BOOT] Bootloader Fail Safe code is running\r\n");

    while (1)
    {
        HAL_GPIO_TogglePin(GPIOD, LD4_Pin);
        HAL_Delay(500);
    }
}
/* USER CODE END 4 */

void Error_Handler(void)
{
  __disable_irq();
  while (1)
  {
  }
}
